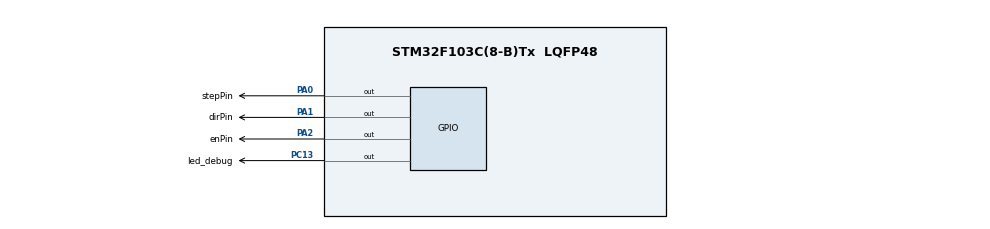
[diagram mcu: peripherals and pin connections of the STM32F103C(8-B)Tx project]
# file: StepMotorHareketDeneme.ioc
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Mcu.Family=STM32F1
Mcu.Name=STM32F103C(8-B)Tx
Mcu.Package=LQFP48
NVIC.PriorityGroup=NVIC_PRIORITYGROUP_4
PA0-WKUP.GPIO_Label=stepPin
PA0-WKUP.Signal=GPIO_Output
PA1.GPIO_Label=dirPin
PA1.Signal=GPIO_Output
PA13.Mode=Serial_Wire
PA13.Signal=SYS_JTMS-SWDIO
PA14.Mode=Serial_Wire
PA14.Signal=SYS_JTCK-SWCLK
PA2.GPIO_Label=enPin
PA2.Signal=GPIO_Output
PC13-TAMPER-RTC.GPIO_Label=led_debug
PC13-TAMPER-RTC.Signal=GPIO_Output
ProjectManager.HeapSize=0x200
ProjectManager.StackSize=0x400
ProjectManager.TargetToolchain=STM32CubeIDE
RCC.APB1Freq_Value=8000000
RCC.APB2Freq_Value=8000000
board=custom

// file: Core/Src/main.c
/* USER CODE BEGIN Header */
/**
  ******************************************************************************
  * @file           : main.c
  * @brief          : Main program body
  ******************************************************************************
  * @attention
  *
  * Copyright (c) 2023 STMicroelectronics.
  * All rights reserved.
  *
  * This software is licensed under terms that can be found in the LICENSE file
  * in the root directory of this software component.
  * If no LICENSE file comes with this software, it is provided AS-IS.
  *
  ******************************************************************************
  */
/* USER CODE END Header */
#include "main.h"

void SystemClock_Config(void);
static void MX_GPIO_Init(void);

int main(void)
{
  /* USER CODE BEGIN 1 */
	HAL_GPIO_WritePin(enPin_GPIO_Port, enPin_Pin, 0);
  /* USER CODE END 1 */

  /* MCU Configuration--------------------------------------------------------*/

  /* Reset of all peripherals, Initializes the Flash interface and the Systick. */
  HAL_Init();

  /* Configure the system clock */
  SystemClock_Config();

  /* Initialize all configured peripherals */
  MX_GPIO_Init();

  /* Infinite loop */
  while (1)
  {

    /* USER CODE BEGIN 3 */
	  HAL_Delay(1000);
	  HAL_GPIO_WritePin(led_debug_GPIO_Port, led_debug_Pin, 1);
	  HAL_GPIO_WritePin(dirPin_GPIO_Port, dirPin_Pin, 1); // Gelen değer 1 ise directionu saga dondurur
	  for(int i = 0; i< 90; i++)
	  {
		  HAL_GPIO_WritePin(stepPin_GPIO_Port, stepPin_Pin, 0);
		  HAL_Delay(1);
		  HAL_GPIO_WritePin(stepPin_GPIO_Port, stepPin_Pin, 1);
		  HAL_Delay(1);
	  }
	  HAL_GPIO_WritePin(dirPin_GPIO_Port, dirPin_Pin, 0); // Gelen değer 1 ise directionu saga dondurur
	  for(int i = 0; i< 90; i++)
	  {
		  HAL_GPIO_WritePin(stepPin_GPIO_Port, stepPin_Pin, 0);
		  HAL_Delay(1);
		  HAL_GPIO_WritePin(stepPin_GPIO_Port, stepPin_Pin, 1);
		  HAL_Delay(1);
	  }
	  HAL_Delay(1000);
	  HAL_GPIO_WritePin(led_debug_GPIO_Port, led_debug_Pin, 0);
  }

  /* USER CODE END 3 */
}

void SystemClock_Config(void)
{
  RCC_OscInitTypeDef RCC_OscInitStruct = {0};
  RCC_ClkInitTypeDef RCC_ClkInitStruct = {0};

  /** Initializes the RCC Oscillators according to the specified parameters
  * in the RCC_OscInitTypeDef structure.
  */
  RCC_OscInitStruct.OscillatorType = RCC_OSCILLATORTYPE_HSI;
  RCC_OscInitStruct.HSIState = RCC_HSI_ON;
  RCC_OscInitStruct.HSICalibrationValue = RCC_HSICALIBRATION_DEFAULT;
  RCC_OscInitStruct.PLL.PLLState = RCC_PLL_NONE;
  if (HAL_RCC_OscConfig(&RCC_OscInitStruct) != HAL_OK)
  {
    Error_Handler();
  }
  /** Initializes the CPU, AHB and APB buses clocks
  */
  RCC_ClkInitStruct.ClockType = RCC_CLOCKTYPE_HCLK|RCC_CLOCKTYPE_SYSCLK
                              |RCC_CLOCKTYPE_PCLK1|RCC_CLOCKTYPE_PCLK2;
  RCC_ClkInitStruct.SYSCLKSource = RCC_SYSCLKSOURCE_HSI;
  RCC_ClkInitStruct.AHBCLKDivider = RCC_SYSCLK_DIV1;
  RCC_ClkInitStruct.APB1CLKDivider = RCC_HCLK_DIV1;
  RCC_ClkInitStruct.APB2CLKDivider = RCC_HCLK_DIV1;

  if (HAL_RCC_ClockConfig(&RCC_ClkInitStruct, FLASH_LATENCY_0) != HAL_OK)
  {
    Error_Handler();
  }
}

static void MX_GPIO_Init(void)
{
  GPIO_InitTypeDef GPIO_InitStruct = {0};

  /* GPIO Ports Clock Enable */
  __HAL_RCC_GPIOC_CLK_ENABLE();
  __HAL_RCC_GPIOA_CLK_ENABLE();

  /*Configure GPIO pin Output Level */
  HAL_GPIO_WritePin(led_debug_GPIO_Port, led_debug_Pin, GPIO_PIN_RESET);

  /*Configure GPIO pin Output Level */
  HAL_GPIO_WritePin(GPIOA, stepPin_Pin|dirPin_Pin|enPin_Pin, GPIO_PIN_RESET);

  /*Configure GPIO pin : led_debug_Pin */
  GPIO_InitStruct.Pin = led_debug_Pin;
  GPIO_InitStruct.Mode = GPIO_MODE_OUTPUT_PP;
  GPIO_InitStruct.Pull = GPIO_NOPULL;
  GPIO_InitStruct.Speed = GPIO_SPEED_FREQ_LOW;
  HAL_GPIO_Init(led_debug_GPIO_Port, &GPIO_InitStruct);

  /*Configure GPIO pins : stepPin_Pin dirPin_Pin enPin_Pin */
  GPIO_InitStruct.Pin = stepPin_Pin|dirPin_Pin|enPin_Pin;
  GPIO_InitStruct.Mode = GPIO_MODE_OUTPUT_PP;
  GPIO_InitStruct.Pull = GPIO_NOPULL;
  GPIO_InitStruct.Speed = GPIO_SPEED_FREQ_LOW;
  HAL_GPIO_Init(GPIOA, &GPIO_InitStruct);

}

void Error_Handler(void)
{
  __disable_irq();
  while (1)
  {
  }
}
